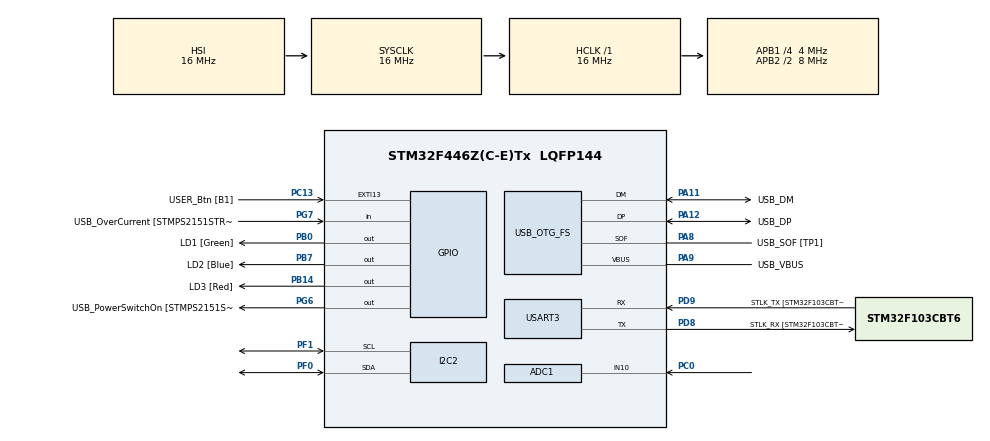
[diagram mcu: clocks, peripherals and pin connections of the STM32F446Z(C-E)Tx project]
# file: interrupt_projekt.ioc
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ADC1.Channel-0\#ChannelRegularConversion=ADC_CHANNEL_10
ADC1.NbrOfConversionFlag=1
ADC1.Rank-0\#ChannelRegularConversion=1
ADC1.SamplingTime-0\#ChannelRegularConversion=ADC_SAMPLETIME_3CYCLES
ADC1.master=1
Mcu.Family=STM32F4
Mcu.Name=STM32F446Z(C-E)Tx
Mcu.Package=LQFP144
NVIC.ADC_IRQn=true\:0\:0\:false\:false\:true\:true\:true\:true
NVIC.PriorityGroup=NVIC_PRIORITYGROUP_4
PA10.GPIO_Label=USB_ID
PA10.Signal=USB_OTG_FS_ID
PA11.GPIO_Label=USB_DM
PA11.Mode=Device_Only
PA11.Signal=USB_OTG_FS_DM
PA12.GPIO_Label=USB_DP
PA12.Mode=Device_Only
PA12.Signal=USB_OTG_FS_DP
PA13.GPIO_Label=TMS
PA13.Mode=Serial_Wire
PA13.Signal=SYS_JTMS-SWDIO
PA14.GPIO_Label=TCK
PA14.Mode=Serial_Wire
PA14.Signal=SYS_JTCK-SWCLK
PA8.GPIO_Label=USB_SOF [TP1]
PA8.Mode=Activate_SOF_FS
PA8.Signal=USB_OTG_FS_SOF
PA9.GPIO_Label=USB_VBUS
PA9.Mode=Activate_VBUS
PA9.Signal=USB_OTG_FS_VBUS
PB0.GPIO_Label=LD1 [Green]
PB0.Signal=GPIO_Output
PB14.GPIO_Label=LD3 [Red]
PB14.Signal=GPIO_Output
PB7.GPIO_Label=LD2 [Blue]
PB7.Signal=GPIO_Output
PC0.Signal=ADCx_IN10
PC13.GPIO_Label=USER_Btn [B1]
PC13.Signal=GPXTI13
PC14-OSC32_IN.Mode=LSE-External-Oscillator
PC14-OSC32_IN.Signal=RCC_OSC32_IN
PC15-OSC32_OUT.Mode=LSE-External-Oscillator
PC15-OSC32_OUT.Signal=RCC_OSC32_OUT
PD8.GPIO_Label=STLK_RX [STM32F103CBT6_PA3]
PD8.Mode=Asynchronous
PD8.Signal=USART3_TX
PD9.GPIO_Label=STLK_TX [STM32F103CBT6_PA2]
PD9.Mode=Asynchronous
PD9.Signal=USART3_RX
PF0.Mode=I2C
PF0.Signal=I2C2_SDA
PF1.Mode=I2C
PF1.Signal=I2C2_SCL
PG6.GPIO_Label=USB_PowerSwitchOn [STMPS2151STR_EN]
PG6.Signal=GPIO_Output
PG7.GPIO_Label=USB_OverCurrent [STMPS2151STR_FAULT]
PG7.Signal=GPIO_Input
PH0-OSC_IN.GPIO_Label=MCO [STM32F103CBT6_PA8]
PH0-OSC_IN.Mode=HSE-External-Clock-Source
PH0-OSC_IN.Signal=RCC_OSC_IN
PH1-OSC_OUT.Mode=HSE-External-Clock-Source
PH1-OSC_OUT.Signal=RCC_OSC_OUT
ProjectManager.HeapSize=0x200
ProjectManager.StackSize=0x400
ProjectManager.TargetToolchain=STM32CubeIDE
RCC.48MHZClocksFreq_Value=24000000
RCC.AHBFreq_Value=16000000
RCC.APB1CLKDivider=RCC_HCLK_DIV4
RCC.APB1Freq_Value=4000000
RCC.APB1TimFreq_Value=8000000
RCC.APB2CLKDivider=RCC_HCLK_DIV2
RCC.APB2Freq_Value=8000000
RCC.APB2TimFreq_Value=16000000
RCC.CortexFreq_Value=16000000
RCC.HCLKFreq_Value=16000000
RCC.HSE_VALUE=8000000
RCC.HSI_VALUE=16000000
RCC.PLLM=4
RCC.PLLMUL=RCC_PLL_MUL9
RCC.PLLN=72
RCC.PLLQ=3
RCC.PRESCALERUSB=RCC_USBCLKSOURCE_PLL_DIV1_5
RCC.SYSCLKFreq_VALUE=16000000
RCC.SYSCLKSourceVirtual=RCC_SYSCLKSOURCE_PLLCLK
RCC.USBFreq_Value=48000000
RCC.VCOOutputFreq_Value=144000000
SH.ADCx_IN10.0=ADC1_IN10,IN10
USART3.VirtualMode=VM_ASYNC
USB_OTG_FS.VirtualMode=Device_Only
board=NUCLEO-F446ZE

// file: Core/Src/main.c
/* USER CODE BEGIN Header */
/**
  ******************************************************************************
  * @file           : main.c
  * @brief          : Main program body
  ******************************************************************************
  * @attention
  *
  * Copyright (c) 2026 STMicroelectronics.
  * All rights reserved.
  *
  * This software is licensed under terms that can be found in the LICENSE file
  * in the root directory of this software component.
  * If no LICENSE file comes with this software, it is provided AS-IS.
  *
  ******************************************************************************
  */
/* USER CODE END Header */
#include "main.h"

/* USER CODE BEGIN Includes */
#include "OLED.h"
#include "stdio.h"
/* USER CODE END Includes */

ADC_HandleTypeDef hadc1;

I2C_HandleTypeDef hi2c2;

UART_HandleTypeDef huart3;

PCD_HandleTypeDef hpcd_USB_OTG_FS;

void SystemClock_Config(void);
static void MX_GPIO_Init(void);
static void MX_ADC1_Init(void);
static void MX_I2C2_Init(void);
static void MX_USART3_UART_Init(void);
static void MX_USB_OTG_FS_PCD_Init(void);

/* USER CODE BEGIN 0 */
uint32_t adc;
/* USER CODE END 0 */

int main(void)
{

  /* MCU Configuration--------------------------------------------------------*/

  /* Reset of all peripherals, Initializes the Flash interface and the Systick. */
  HAL_Init();

  /* Configure the system clock */
  SystemClock_Config();

  /* Initialize all configured peripherals */
  MX_GPIO_Init();
  MX_ADC1_Init();
  MX_I2C2_Init();
  MX_USART3_UART_Init();
  MX_USB_OTG_FS_PCD_Init();
  /* USER CODE BEGIN 2 */
  OLED_Init();

  char adc_char[11];
  /* Variables needed to calculate the moving average, created globally */
  /* Array of 25 consecutive values */
  uint32_t adc_avg[25] = {0};
  /* Indicator containing the location of the last value entered */
  uint8_t p_avg_cnt = 0;
  /* Variable containing the calculated average value */
  uint32_t avg = 0;
  /* USER CODE END 2 */

  /* Infinite loop */
  while (1)
  {

    /* USER CODE BEGIN 3 */

	  /* Start the conversion in blocking mode */
	  HAL_ADC_Start(&hadc1);

	  /* Check that the conversion is complete */
	  if(HAL_ADC_PollForConversion(&hadc1, 10) == HAL_OK)
	  {
		  /* Read the result of the conversion */
		  adc = HAL_ADC_GetValue(&hadc1);
		  /* Checking whether we have reached the end of the block */
		  if(p_avg_cnt == 25)
		  {
			  /* Set the pointer to the first element of the array */
			  p_avg_cnt = 0;
		  }
		  /* Place the result of the last conversion in the array */
		  adc_avg[p_avg_cnt] = adc;
		  /* Increase the value of the indicator */
		  p_avg_cnt++;
		  avg = 0;
		  /* Determine the average of the 25 elements */
		  for(uint8_t i = 0; i < 25; i++)
		  {
			  /* Array elements added together */
			  avg += adc_avg[i];
		  }
		  /* To calculate the average, the previous sum is divided by the number of elements */
		  avg = avg / 25;
	  }

	  /* Display management */
	  sprintf(adc_char, "%d", (uint16_t)avg);

	  OLED_Fill(Black);

	  OLED_SetCursor(2, 0);
	  OLED_WriteString("ADC value", Font_11x18, White);
	  OLED_SetCursor(2, 18);
	  OLED_WriteString(adc_char, Font_11x18, White);
	  sprintf(adc_char, "%dmV", (uint16_t)(avg * 0.806));
	  OLED_SetCursor(2, 18 + 18);
	  OLED_WriteString(adc_char, Font_11x18, White);

	  OLED_UpdateScreen();

	  HAL_Delay(25);

  }
  /* USER CODE END 3 */
}

void SystemClock_Config(void)
{
  RCC_OscInitTypeDef RCC_OscInitStruct = {0};
  RCC_ClkInitTypeDef RCC_ClkInitStruct = {0};

  /** Configure the main internal regulator output voltage
  */
  __HAL_RCC_PWR_CLK_ENABLE();
  __HAL_PWR_VOLTAGESCALING_CONFIG(PWR_REGULATOR_VOLTAGE_SCALE3);

  /** Initializes the RCC Oscillators according to the specified parameters
  * in the RCC_OscInitTypeDef structure.
  */
  RCC_OscInitStruct.OscillatorType = RCC_OSCILLATORTYPE_HSI;
  RCC_OscInitStruct.HSIState = RCC_HSI_ON;
  RCC_OscInitStruct.HSICalibrationValue = RCC_HSICALIBRATION_DEFAULT;
  RCC_OscInitStruct.PLL.PLLState = RCC_PLL_ON;
  RCC_OscInitStruct.PLL.PLLSource = RCC_PLLSOURCE_HSE;
  RCC_OscInitStruct.PLL.PLLM = 4;
  RCC_OscInitStruct.PLL.PLLN = 72;
  RCC_OscInitStruct.PLL.PLLP = RCC_PLLP_DIV2;
  RCC_OscInitStruct.PLL.PLLQ = 3;
  RCC_OscInitStruct.PLL.PLLR = 2;
  if (HAL_RCC_OscConfig(&RCC_OscInitStruct) != HAL_OK)
  {
    Error_Handler();
  }

  /** Initializes the CPU, AHB and APB buses clocks
  */
  RCC_ClkInitStruct.ClockType = RCC_CLOCKTYPE_HCLK|RCC_CLOCKTYPE_SYSCLK
                              |RCC_CLOCKTYPE_PCLK1|RCC_CLOCKTYPE_PCLK2;
  RCC_ClkInitStruct.SYSCLKSource = RCC_SYSCLKSOURCE_HSI;
  RCC_ClkInitStruct.AHBCLKDivider = RCC_SYSCLK_DIV1;
  RCC_ClkInitStruct.APB1CLKDivider = RCC_HCLK_DIV4;
  RCC_ClkInitStruct.APB2CLKDivider = RCC_HCLK_DIV2;

  if (HAL_RCC_ClockConfig(&RCC_ClkInitStruct, FLASH_LATENCY_0) != HAL_OK)
  {
    Error_Handler();
  }
}

static void MX_ADC1_Init(void)
{

  ADC_ChannelConfTypeDef sConfig = {0};

  /** Configure the global features of the ADC (Clock, Resolution, Data Alignment and number of conversion)
  */
  hadc1.Instance = ADC1;
  hadc1.Init.ClockPrescaler = ADC_CLOCK_SYNC_PCLK_DIV2;
  hadc1.Init.Resolution = ADC_RESOLUTION_12B;
  hadc1.Init.ScanConvMode = DISABLE;
  hadc1.Init.ContinuousConvMode = DISABLE;
  hadc1.Init.DiscontinuousConvMode = DISABLE;
  hadc1.Init.ExternalTrigConvEdge = ADC_EXTERNALTRIGCONVEDGE_NONE;
  hadc1.Init.ExternalTrigConv = ADC_SOFTWARE_START;
  hadc1.Init.DataAlign = ADC_DATAALIGN_RIGHT;
  hadc1.Init.NbrOfConversion = 1;
  hadc1.Init.DMAContinuousRequests = DISABLE;
  hadc1.Init.EOCSelection = ADC_EOC_SINGLE_CONV;
  if (HAL_ADC_Init(&hadc1) != HAL_OK)
  {
    Error_Handler();
  }

  /** Configure for the selected ADC regular channel its corresponding rank in the sequencer and its sample time.
  */
  sConfig.Channel = ADC_CHANNEL_10;
  sConfig.Rank = 1;
  sConfig.SamplingTime = ADC_SAMPLETIME_3CYCLES;
  if (HAL_ADC_ConfigChannel(&hadc1, &sConfig) != HAL_OK)
  {
    Error_Handler();
  }

}

static void MX_I2C2_Init(void)
{

  hi2c2.Instance = I2C2;
  hi2c2.Init.ClockSpeed = 100000;
  hi2c2.Init.DutyCycle = I2C_DUTYCYCLE_2;
  hi2c2.Init.OwnAddress1 = 0;
  hi2c2.Init.AddressingMode = I2C_ADDRESSINGMODE_7BIT;
  hi2c2.Init.DualAddressMode = I2C_DUALADDRESS_DISABLE;
  hi2c2.Init.OwnAddress2 = 0;
  hi2c2.Init.GeneralCallMode = I2C_GENERALCALL_DISABLE;
  hi2c2.Init.NoStretchMode = I2C_NOSTRETCH_DISABLE;
  if (HAL_I2C_Init(&hi2c2) != HAL_OK)
  {
    Error_Handler();
  }

}

static void MX_USART3_UART_Init(void)
{

  huart3.Instance = USART3;
  huart3.Init.BaudRate = 115200;
  huart3.Init.WordLength = UART_WORDLENGTH_8B;
  huart3.Init.StopBits = UART_STOPBITS_1;
  huart3.Init.Parity = UART_PARITY_NONE;
  huart3.Init.Mode = UART_MODE_TX_RX;
  huart3.Init.HwFlowCtl = UART_HWCONTROL_NONE;
  huart3.Init.OverSampling = UART_OVERSAMPLING_16;
  if (HAL_UART_Init(&huart3) != HAL_OK)
  {
    Error_Handler();
  }

}

static void MX_USB_OTG_FS_PCD_Init(void)
{

  hpcd_USB_OTG_FS.Instance = USB_OTG_FS;
  hpcd_USB_OTG_FS.Init.dev_endpoints = 6;
  hpcd_USB_OTG_FS.Init.speed = PCD_SPEED_FULL;
  hpcd_USB_OTG_FS.Init.dma_enable = DISABLE;
  hpcd_USB_OTG_FS.Init.phy_itface = PCD_PHY_EMBEDDED;
  hpcd_USB_OTG_FS.Init.Sof_enable = ENABLE;
  hpcd_USB_OTG_FS.Init.low_power_enable = DISABLE;
  hpcd_USB_OTG_FS.Init.lpm_enable = DISABLE;
  hpcd_USB_OTG_FS.Init.vbus_sensing_enable = ENABLE;
  hpcd_USB_OTG_FS.Init.use_dedicated_ep1 = DISABLE;
  if (HAL_PCD_Init(&hpcd_USB_OTG_FS) != HAL_OK)
  {
    Error_Handler();
  }

}

static void MX_GPIO_Init(void)
{
  GPIO_InitTypeDef GPIO_InitStruct = {0};

  /* GPIO Ports Clock Enable */
  __HAL_RCC_GPIOC_CLK_ENABLE();
  __HAL_RCC_GPIOF_CLK_ENABLE();
  __HAL_RCC_GPIOH_CLK_ENABLE();
  __HAL_RCC_GPIOB_CLK_ENABLE();
  __HAL_RCC_GPIOD_CLK_ENABLE();
  __HAL_RCC_GPIOG_CLK_ENABLE();
  __HAL_RCC_GPIOA_CLK_ENABLE();

  /*Configure GPIO pin Output Level */
  HAL_GPIO_WritePin(GPIOB, LD1_Pin|LD3_Pin|LD2_Pin, GPIO_PIN_RESET);

  /*Configure GPIO pin Output Level */
  HAL_GPIO_WritePin(USB_PowerSwitchOn_GPIO_Port, USB_PowerSwitchOn_Pin, GPIO_PIN_RESET);

  /*Configure GPIO pin : USER_Btn_Pin */
  GPIO_InitStruct.Pin = USER_Btn_Pin;
  GPIO_InitStruct.Mode = GPIO_MODE_IT_RISING;
  GPIO_InitStruct.Pull = GPIO_NOPULL;
  HAL_GPIO_Init(USER_Btn_GPIO_Port, &GPIO_InitStruct);

  /*Configure GPIO pins : LD1_Pin LD3_Pin LD2_Pin */
  GPIO_InitStruct.Pin = LD1_Pin|LD3_Pin|LD2_Pin;
  GPIO_InitStruct.Mode = GPIO_MODE_OUTPUT_PP;
  GPIO_InitStruct.Pull = GPIO_NOPULL;
  GPIO_InitStruct.Speed = GPIO_SPEED_FREQ_LOW;
  HAL_GPIO_Init(GPIOB, &GPIO_InitStruct);

  /*Configure GPIO pin : USB_PowerSwitchOn_Pin */
  GPIO_InitStruct.Pin = USB_PowerSwitchOn_Pin;
  GPIO_InitStruct.Mode = GPIO_MODE_OUTPUT_PP;
  GPIO_InitStruct.Pull = GPIO_NOPULL;
  GPIO_InitStruct.Speed = GPIO_SPEED_FREQ_LOW;
  HAL_GPIO_Init(USB_PowerSwitchOn_GPIO_Port, &GPIO_InitStruct);

  /*Configure GPIO pin : USB_OverCurrent_Pin */
  GPIO_InitStruct.Pin = USB_OverCurrent_Pin;
  GPIO_InitStruct.Mode = GPIO_MODE_INPUT;
  GPIO_InitStruct.Pull = GPIO_NOPULL;
  HAL_GPIO_Init(USB_OverCurrent_GPIO_Port, &GPIO_InitStruct);

}

void Error_Handler(void)
{
  __disable_irq();
  while (1)
  {
  }
}
